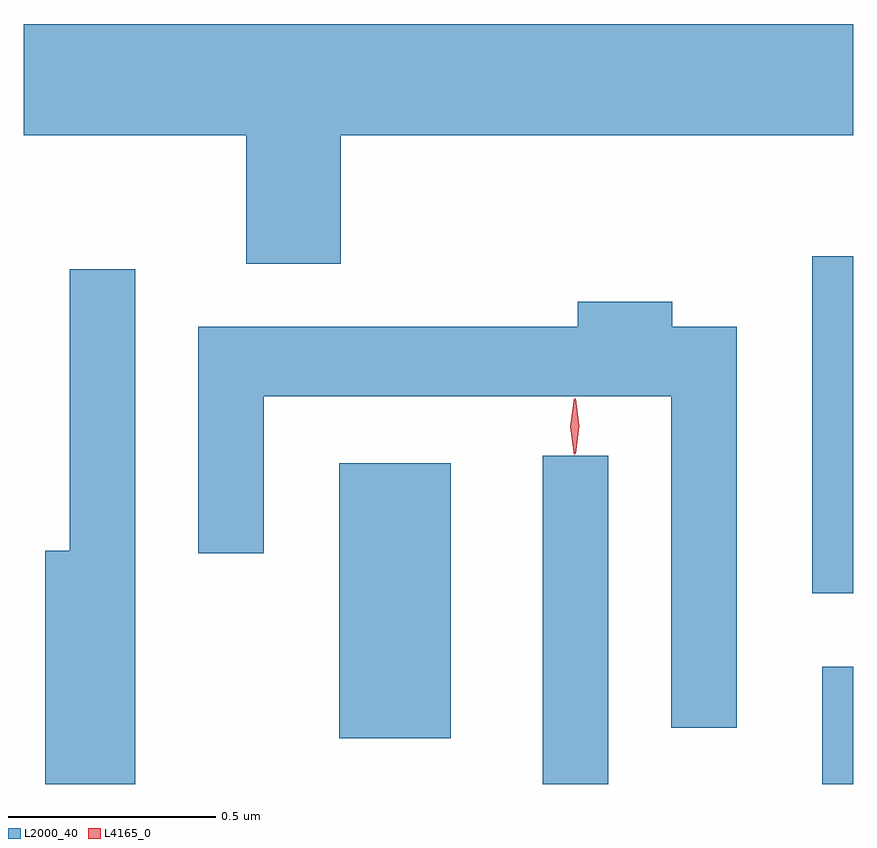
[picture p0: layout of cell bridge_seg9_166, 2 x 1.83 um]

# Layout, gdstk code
import gdstk
lib = gdstk.Library(unit=1e-6, precision=1e-09)
def R(c, l, rs):  # rectangles x0, y0, x1, y1
    for r in rs: c.add(gdstk.rectangle(r[:2], r[2:], *l))
def P(c, l, *ps):  # polygons
    for p in ps: c.add(gdstk.Polygon(p, *l))
L2000_40 = (2000, 40)
L4165_0 = (4165, 0)

bridge_seg9_166 = lib.new_cell('bridge_seg9_166')
R(bridge_seg9_166, L2000_40, [(1439.346,2065.731,1439.504,2066.523), (1440.021,2065.731,1440.095,2066.014), (1438.856,2065.841,1439.124,2066.504), (1439.996,2066.191,1440.095,2067.004)])
P(bridge_seg9_166, L2000_40, [(1438.859,2067.296),(1440.095,2067.296),(1440.095,2067.564),(1438.095,2067.564),(1438.095,2067.296),(1438.631,2067.296),(1438.631,2066.986),(1438.859,2066.986)],
  [(1438.364,2066.972),(1438.206,2066.972),(1438.206,2066.294),(1438.146,2066.294),(1438.146,2065.731),(1438.364,2065.731)],
  [(1439.814,2066.834),(1439.659,2066.834),(1439.659,2066.894),(1439.431,2066.894),(1439.431,2066.834),(1438.516,2066.834),(1438.516,2066.288),(1438.674,2066.288),(1438.674,2066.666),(1439.656,2066.666),(1439.656,2065.867),(1439.814,2065.867)])
P(bridge_seg9_166, L4165_0, [(1439.422,2066.524),(1439.413,2066.593),(1439.422,2066.662),(1439.423,2066.663),(1439.423,2066.662),(1439.433,2066.593),(1439.423,2066.524),(1439.423,2066.524)],
  [(1439.425,2066.527),(1439.425,2066.528),(1439.416,2066.594),(1439.425,2066.66),(1439.426,2066.66),(1439.426,2066.66),(1439.435,2066.594),(1439.426,2066.528)])

lib.write_gds('bridge_seg9_166.gds')
